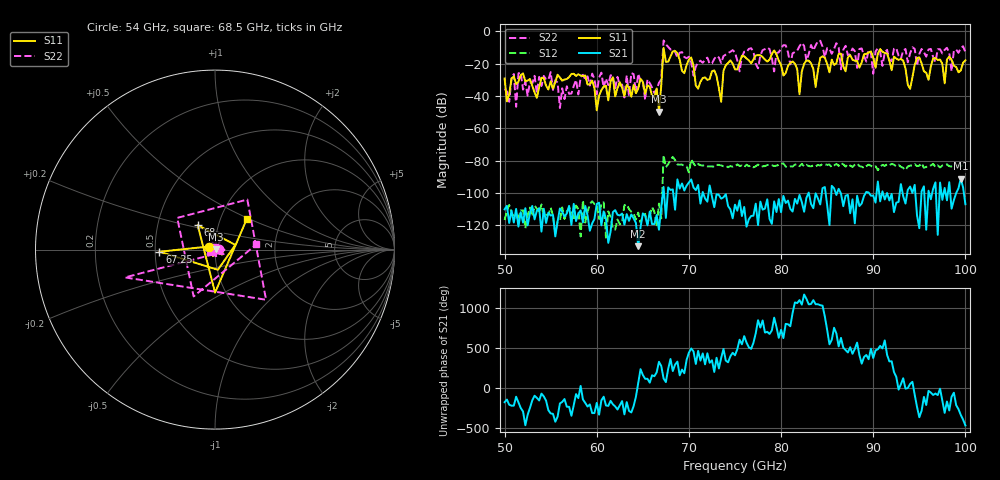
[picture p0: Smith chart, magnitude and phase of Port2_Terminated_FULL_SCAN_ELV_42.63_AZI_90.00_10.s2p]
! 11/25/2026 1:43:24 PM
! C:\ANRITSUVNA\TEMP\TEMP.S2P
! CHANNEL.1
! TR.MEASUREMENT
! RAW.DATA
# HZ S RI R 50.0
! FREQ.HZ  S11RE  S11IM  S21RE  S21IM  S12RE  S12IM  S22RE  S22IM
!; PortSelection: Port_12
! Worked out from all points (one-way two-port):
!   201 points, 50 GHz to 100 GHz, reference 50 ohm
!   highest |S21| = -91.15 dB at 99.5 GHz (marker M1); lowest = -133.0 dB at 64.5 GHz (marker M2)
!   lowest |S11| = -49.7 dB at 66.75 GHz (marker M3), VSWR 1.01, Z = 50.3 + j0.0704 ohm
!   |S11| at or under -10 dB: start of sweep to end of sweep
!   |S22| runs from -47.5 to -5.6 dB; largest |S21 - S12| = 0.00014
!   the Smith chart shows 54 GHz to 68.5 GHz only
!   S11 on the Smith chart (normalised r, x): 54 GHz: 0.93, +0.03; 67.25 GHz: 0.53, -0.01; 68 GHz: 0.80, +0.22; 68.5 GHz: 1.33, +0.49
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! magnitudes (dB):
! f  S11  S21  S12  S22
! 50 GHz  -29.1  -110.2  -116.8  -35.6
! 54 GHz  -28.7  -124.0  -107.2  -33.8
! 55 GHz  -30.9  -114.0  -109.2  -25.2
! 56 GHz  -28.6  -109.6  -117.3  -47.5
! 58.5 GHz  -27.7  -118.3  -104.5  -26.9
! 60 GHz  -48.8  -106.9  -107.4  -38.9
! 64.5 GHz  -35.4  -133.0  -112.2  -26.2
! 66.75 GHz  -49.7  -122.8  -106.6  -31.9
! 67.25 GHz  -10.2  -96.3  -76.6  -5.6
! 68 GHz  -15.5  -98.2  -79.9  -11.2
! 68.5 GHz  -12.1  -110.4  -79.7  -12.6
! 73.5 GHz  -43.6  -103.6  -83.0  -19.5
! 73.75 GHz  -24.3  -102.8  -83.5  -15.3
! 75 GHz  -23.5  -107.3  -83.6  -13.0
! 79.25 GHz  -11.8  -105.2  -83.4  -24.8
! 82 GHz  -38.9  -101.3  -83.4  -9.2
! 83.5 GHz  -23.4  -109.5  -82.9  -11.7
! 91.75 GHz  -18.2  -104.7  -83.0  -17.5
! 94 GHz  -35.6  -96.1  -83.0  -13.6
! 94.75 GHz  -16.5  -113.9  -83.4  -21.1
! 99.5 GHz  -24.2  -91.2  -83.1  -10.2
! 100 GHz  -17.9  -107.0  -83.9  -12.8
